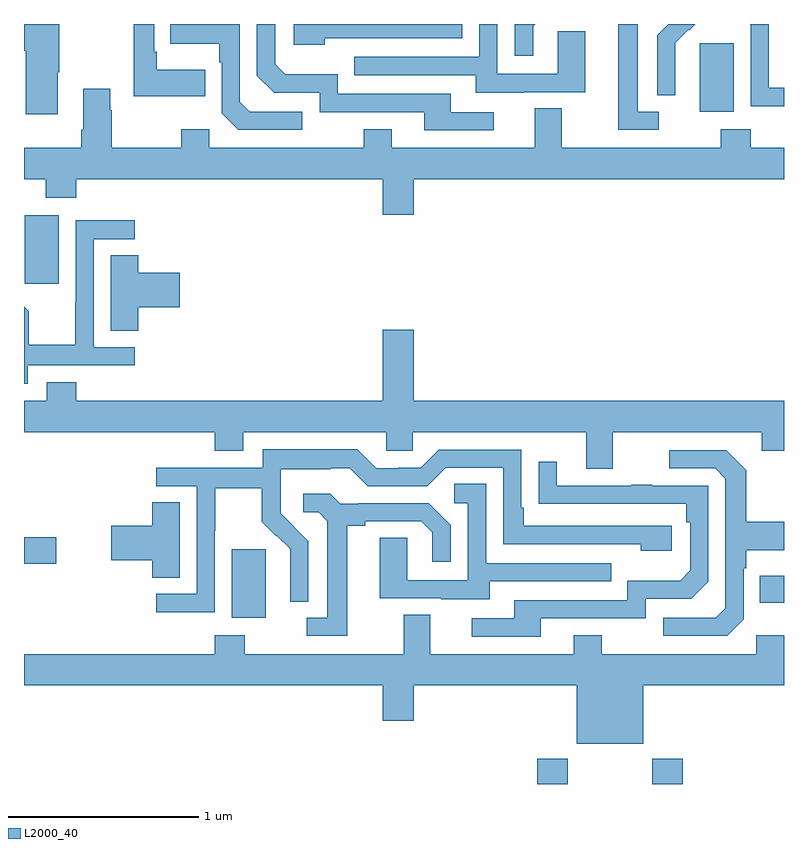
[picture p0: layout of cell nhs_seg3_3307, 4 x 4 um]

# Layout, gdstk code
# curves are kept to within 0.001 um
import gdstk
lib = gdstk.Library(unit=1e-6, precision=1e-09)
def R(c, l, rs):  # rectangles x0, y0, x1, y1
    for r in rs: c.add(gdstk.rectangle(r[:2], r[2:], *l))
def P(c, l, *ps):  # polygons
    for p in ps: c.add(gdstk.Polygon(p, *l))
L2000_40 = (2000, 40)

nhs_seg3_3307 = lib.new_cell('nhs_seg3_3307')
R(nhs_seg3_3307, L2000_40, [(285.701,696.4,285.861,696.532), (286.306,696.4,286.466,696.532), (284.093,697.274,284.272,697.635), (286.873,697.355,287,697.495), (283,697.558,283.171,697.7), (283.004,699.033,283.183,699.394), (286.556,699.938,286.735,700.299)])
P(nhs_seg3_3307, L2000_40, [(286.428,700.178),(286.427,700.178),(286.427,700.301),(286.497,700.371),(286.5,700.368),(286.532,700.4),(286.39,700.4),(286.332,700.342),(286.332,700.024),(286.428,700.024)],
  [(285.631,700.041),(285.955,700.041),(285.955,700.361),(285.81,700.361),(285.81,700.137),(285.492,700.137),(285.492,700.4),(285.396,700.4),(285.396,700.227),(284.737,700.227),(284.737,700.131),(285.377,700.131),(285.377,700.037),(285.631,700.037)],
  [(284.582,700.326),(285.306,700.326),(285.306,700.4),(284.421,700.4),(284.421,700.292),(284.582,700.292)],
  [(283.177,700.147),(283.185,700.147),(283.185,700.4),(283,700.4),(283,700.259),(283.01,700.259),(283.01,699.924),(283.177,699.924)],
  [(287,700.065),(286.92,700.065),(286.92,700.4),(286.822,700.4),(286.822,700.396),(286.824,700.396),(286.824,699.967),(287,699.967)],
  [(283.955,700.159),(283.699,700.159),(283.699,700.255),(283.686,700.255),(283.686,700.4),(283.578,700.4),(283.578,700.019),(283.955,700.019)],
  [(286.342,699.939),(286.231,699.939),(286.231,700.4),(286.127,700.4),(286.127,699.843),(286.342,699.843)],
  [(285.679,700.389),(285.69,700.4),(285.582,700.4),(285.582,700.233),(285.679,700.233)],
  [(284.464,699.939),(284.187,699.939),(284.136,699.99),(284.136,700.4),(283.771,700.4),(283.771,700.295),(284.028,700.295),(284.028,700.199),(284.04,700.199),(284.04,699.93),(284.127,699.843),(284.464,699.843)],
  [(285.472,699.936),(285.247,699.936),(285.247,700.032),(284.652,700.032),(284.652,700.135),(284.375,700.135),(284.322,700.188),(284.322,700.4),(284.226,700.4),(284.226,700.128),(284.316,700.038),(284.556,700.038),(284.556,699.936),(285.107,699.936),(285.107,699.84),(285.472,699.84)],
  [(285.052,699.584),(287,699.584),(287,699.748),(286.826,699.748),(286.826,699.847),(286.666,699.847),(286.666,699.748),(285.829,699.748),(285.829,699.956),(285.689,699.956),(285.689,699.748),(284.935,699.748),(284.935,699.847),(284.788,699.847),(284.788,699.748),(283.974,699.748),(283.974,699.847),(283.828,699.847),(283.828,699.748),(283.461,699.748),(283.461,699.947),(283.453,699.947),(283.453,700.06),(283.313,700.06),(283.313,699.844),(283.301,699.844),(283.301,699.748),(283,699.748),(283,699.584),(283.114,699.584),(283.114,699.485),(283.274,699.485),(283.274,699.584),(284.888,699.584),(284.888,699.396),(285.052,699.396)],
  [(283.02,698.604),(283.582,698.604),(283.582,698.7),(283.368,698.7),(283.368,699.267),(283.582,699.267),(283.582,699.366),(283.272,699.366),(283.272,698.936),(283.27,698.936),(283.27,698.713),(283.025,698.713),(283.025,698.887),(283,698.912),(283,698.507),(283.02,698.507)],
  [(283.601,698.909),(283.819,698.909),(283.819,699.092),(283.601,699.092),(283.601,699.182),(283.457,699.182),(283.457,698.785),(283.601,698.785)],
  [(286.099,698.252),(286.883,698.252),(286.883,698.153),(287,698.153),(287,698.416),(285.052,698.416),(285.052,698.791),(284.888,698.791),(284.888,698.416),(283.274,698.416),(283.274,698.515),(283.121,698.515),(283.121,698.416),(283,698.416),(283,698.252),(284.003,698.252),(284.003,698.153),(284.155,698.153),(284.155,698.252),(284.907,698.252),(284.907,698.154),(285.045,698.154),(285.045,698.252),(285.959,698.252),(285.959,698.058),(286.099,698.058)],
  [(284.004,697.732),(284.007,697.732),(284.007,697.956),(284.251,697.956),(284.251,697.781),(284.328,697.704),(284.331,697.707),(284.402,697.637),(284.402,697.514),(284.4,697.514),(284.4,697.36),(284.496,697.36),(284.496,697.678),(284.35,697.826),(284.35,697.923),(284.352,697.923),(284.352,698.057),(284.615,698.057),(284.615,698.061),(284.715,698.061),(284.808,697.968),(285.123,697.968),(285.219,698.064),(285.522,698.064),(285.522,697.662),(286.247,697.662),(286.247,697.628),(286.408,697.628),(286.408,697.758),(285.631,697.758),(285.631,697.855),(285.618,697.855),(285.618,698.16),(285.183,698.16),(285.087,698.064),(284.969,698.064),(284.969,698.061),(284.853,698.061),(284.753,698.161),(284.256,698.161),(284.256,698.064),(283.695,698.064),(283.695,697.968),(283.908,697.968),(283.908,697.401),(283.695,697.401),(283.695,697.303),(284.004,697.303)],
  [(286.788,697.266),(286.788,697.535),(286.801,697.535),(286.801,697.631),(287,697.631),(287,697.779),(286.801,697.779),(286.801,698.051),(286.695,698.157),(286.395,698.157),(286.395,698.061),(286.638,698.061),(286.692,698.007),(286.692,697.326),(286.641,697.275),(286.365,697.275),(286.365,697.179),(286.701,697.179)],
  [(285.721,697.272),(286.272,697.272),(286.272,697.374),(286.512,697.374),(286.602,697.464),(286.602,697.971),(286.307,697.971),(286.307,697.976),(286.195,697.976),(286.195,697.971),(285.805,697.971),(285.805,698.095),(285.709,698.095),(285.709,697.876),(286.486,697.875),(286.486,697.778),(286.506,697.778),(286.506,697.524),(286.453,697.471),(286.176,697.471),(286.176,697.368),(285.581,697.368),(285.581,697.272),(285.357,697.272),(285.357,697.176),(285.721,697.176)],
  [(285.451,697.467),(286.091,697.467),(286.091,697.563),(285.432,697.563),(285.432,697.979),(285.264,697.979),(285.264,697.878),(285.336,697.878),(285.336,697.473),(285.018,697.473),(285.018,697.697),(284.873,697.697),(284.873,697.377),(285.197,697.377),(285.197,697.373),(285.451,697.373)],
  [(284.701,697.76),(284.797,697.76),(284.797,697.782),(285.092,697.782),(285.149,697.725),(285.149,697.569),(285.246,697.569),(285.246,697.762),(285.13,697.878),(284.758,697.878),(284.758,697.875),(284.664,697.875),(284.612,697.927),(284.469,697.927),(284.469,697.83),(284.55,697.83),(284.597,697.783),(284.597,697.275),(284.487,697.275),(284.487,697.179),(284.701,697.179)],
  [(283.819,697.883),(283.676,697.883),(283.676,697.76),(283.458,697.76),(283.458,697.577),(283.676,697.577),(283.676,697.486),(283.819,697.486)],
  [(286.258,696.92),(287,696.92),(287,697.183),(286.854,697.183),(286.854,697.084),(286.041,697.084),(286.041,697.183),(285.893,697.183),(285.893,697.084),(285.139,697.084),(285.139,697.292),(284.999,697.292),(284.999,697.084),(284.163,697.084),(284.163,697.183),(284.003,697.183),(284.003,697.084),(283,697.084),(283,696.92),(284.888,696.92),(284.888,696.732),(285.052,696.732),(285.052,696.92),(285.908,696.92),(285.908,696.611),(286.258,696.611)])

lib.write_gds('nhs_seg3_3307.gds')
